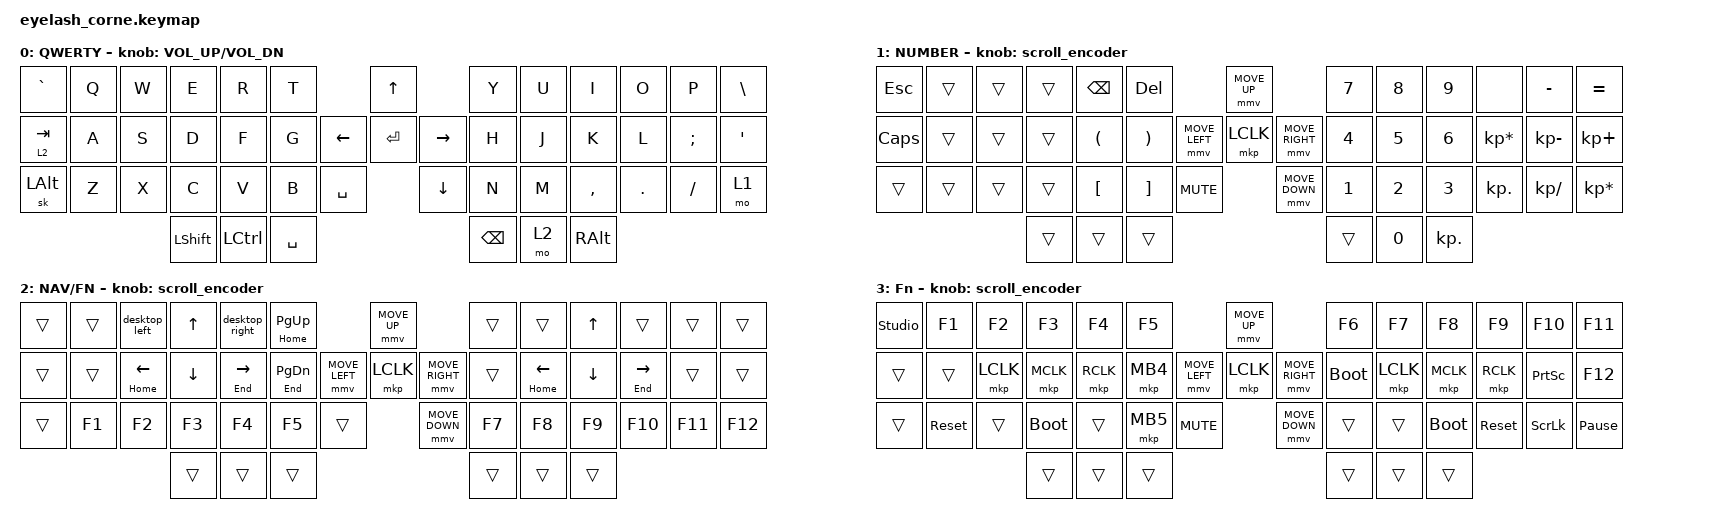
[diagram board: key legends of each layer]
#define ZMK_POINTING_DEFAULT_MOVE_VAL 1200  // 600
#define ZMK_POINTING_DEFAULT_SCRL_VAL 25   // 10

#include <input/processors.dtsi>
#include <zephyr/dt-bindings/input/input-event-codes.h>
#include <behaviors.dtsi>
#include <dt-bindings/zmk/bt.h>
#include <dt-bindings/zmk/keys.h>
#include <dt-bindings/zmk/outputs.h>
#include <dt-bindings/zmk/pointing.h>
#include <dt-bindings/zmk/rgb.h>

&mmv_input_listener { input-processors = <&zip_xy_scaler 2 1>; };

&msc_input_listener { input-processors = <&zip_scroll_scaler 2 1>; };

&msc {
    acceleration-exponent = <1>;      // 0
    time-to-max-speed-ms = <100>;       // 300
    delay-ms = <0>;                   // 0
};

&mmv {
    time-to-max-speed-ms = <500>;
    acceleration-exponent = <1>;
    trigger-period-ms = <16>;
};

&soft_off { hold-time-ms = <2000>; };

/ {
    // ==================== MACROS ====================
    macros {
        // M0: Ctrl+GUI+Left (desktop switch left)
        desktop_left: desktop_left {
            compatible = "zmk,behavior-macro";
            #binding-cells = <0>;
            bindings = <&kp LC(LG(LEFT))>;
        };

        // M1: Ctrl+GUI+Right (desktop switch right)
        desktop_right: desktop_right {
            compatible = "zmk,behavior-macro";
            #binding-cells = <0>;
            bindings = <&kp LC(LG(RIGHT))>;
        };
    };

    // ==================== BEHAVIORS ====================
    behaviors {
        // Hold-tap: tap=PgUp, hold=Home
        ht_pgup: ht_pgup {
            compatible = "zmk,behavior-hold-tap";
            #binding-cells = <2>;
            flavor = "tap-preferred";
            tapping-term-ms = <200>;
            bindings = <&kp>, <&kp>;
        };

        // Hold-tap: tap=PgDn, hold=End
        ht_pgdn: ht_pgdn {
            compatible = "zmk,behavior-hold-tap";
            #binding-cells = <2>;
            flavor = "tap-preferred";
            tapping-term-ms = <200>;
            bindings = <&kp>, <&kp>;
        };

        // Hold-tap: tap=Left, hold=Home
        ht_left: ht_left {
            compatible = "zmk,behavior-hold-tap";
            #binding-cells = <2>;
            flavor = "tap-preferred";
            tapping-term-ms = <200>;
            bindings = <&kp>, <&kp>;
        };

        // Hold-tap: tap=Right, hold=End
        ht_right: ht_right {
            compatible = "zmk,behavior-hold-tap";
            #binding-cells = <2>;
            flavor = "tap-preferred";
            tapping-term-ms = <200>;
            bindings = <&kp>, <&kp>;
        };
    };

    rgb_encoder: rgb_encoder {
        compatible = "zmk,behavior-sensor-rotate";
        #sensor-binding-cells = <0>;
        bindings = <&rgb_ug RGB_BRI>, <&rgb_ug RGB_BRD>;
    };

    scroll_encoder: scroll_encoder {
        compatible = "zmk,behavior-sensor-rotate";
        #sensor-binding-cells = <0>;
        bindings = <&msc SCRL_DOWN>, <&msc SCRL_UP>;

        tap-ms = <100>;
    };

    // ==================== COMBOS ====================
    combos {
        compatible = "zmk,combos";

        softoff {
            bindings = <&soft_off>;
            key-positions = <1 16 30>;
        };

        // J+K = Enter (positions 23+24)
        combo_jk_enter {
            timeout-ms = <50>;
            key-positions = <23 24>;
            bindings = <&kp ENTER>;
        };

        // D+F = Enter (positions 16+17)
        combo_df_enter {
            timeout-ms = <50>;
            key-positions = <16 17>;
            bindings = <&kp ENTER>;
        };

        // Q+W = Escape (positions 1+2)
        combo_qw_esc {
            timeout-ms = <50>;
            key-positions = <1 2>;
            bindings = <&kp ESC>;
        };

        // S+D = MO(1) (positions 15+16)
        combo_sd_layer1 {
            timeout-ms = <50>;
            key-positions = <15 16>;
            bindings = <&mo 1>;
        };

        // X+C = One-shot GUI (positions 30+31) - this one works
        combo_xc_gui {
            timeout-ms = <50>;
            key-positions = <30 31>;
            bindings = <&sk LGUI>;
        };
    };

    // ==================== KEYMAP ====================
    keymap {
        compatible = "zmk,keymap";

        default_layer {
            display-name = "QWERTY";
            // ` Q W E R T  [joy]  Y U I O P \
            // Tab/L2 A S D F G  [joy]  H J K L ; '
            // OSM(Alt) Z X C V B  [joy]  N M , . / MO(1)
            //          Shift Ctrl Space    Bksp MO(2) RAlt
            bindings = <
&kp GRAVE   &kp Q  &kp W  &kp E      &kp R      &kp T                                  &kp UP                &kp Y     &kp U  &kp I      &kp O    &kp P     &kp BSLH
&lt 2 TAB   &kp A  &kp S  &kp D      &kp F      &kp G                        &kp LEFT  &kp ENTER  &kp RIGHT  &kp H     &kp J  &kp K      &kp L    &kp SEMI  &kp SQT
&sk LALT    &kp Z  &kp X  &kp C      &kp V      &kp B        &kp SPACE                 &kp DOWN              &kp N     &kp M  &kp COMMA  &kp DOT  &kp FSLH  &mo 1
                          &kp LSHFT  &kp LCTRL  &kp SPACE                                                    &kp BSPC  &mo 2  &kp RALT
            >;

            sensor-bindings = <&inc_dec_kp C_VOLUME_UP C_VOL_DN>;
        };

        lower_layer {
            display-name = "NUMBER";
            // ESC _ _ _ Bksp Del  [joy]  7 8 9 _ - =
            // Caps _ _ _ ( )  [joy]  4 5 6 * KP- KP+
            // _ _ _ _ [ ]  [joy]  1 2 3 KP. KP/ KP*
            //          _ _ _    _ 0 KP.
            bindings = <
&kp ESC   &trans  &trans  &trans  &kp BSPC  &kp DEL                                        &mmv MOVE_UP                     &kp N7  &kp N8  &kp N9      &none            &kp MINUS     &kp EQUAL
&kp CAPS  &trans  &trans  &trans  &kp LPAR  &kp RPAR                       &mmv MOVE_LEFT  &mkp LCLK       &mmv MOVE_RIGHT  &kp N4  &kp N5  &kp N6      &kp KP_ASTERISK  &kp KP_MINUS  &kp KP_PLUS
&trans    &trans  &trans  &trans  &kp LBKT  &kp RBKT       &kp C_MUTE                      &mmv MOVE_DOWN                   &kp N1  &kp N2  &kp N3      &kp KP_DOT       &kp KP_SLASH  &kp KP_ASTERISK
                          &trans  &trans    &trans                                                                          &trans  &kp N0  &kp KP_DOT
            >;

            sensor-bindings = <&scroll_encoder>;
        };

        raise_layer {
            display-name = "NAV/FN";
            // _ _ M0 Up M1 PgUp/Hm  [joy]  _ _ Up _ _ _
            // _ _ Left/Hm Down Right/End PgDn/End  [joy]  _ Left/Hm Down Right/End _ _
            // _ F1 F2 F3 F4 F5  [joy]  F7 F8 F9 F10 F11 F12
            //          _ _ _    _ _ _
            bindings = <
&trans  &trans  &desktop_left       &kp UP    &desktop_right       &ht_pgup HOME PG_UP                            &mmv MOVE_UP                     &trans  &trans                  &kp UP    &trans                   &trans   &trans
&trans  &trans  &ht_left HOME LEFT  &kp DOWN  &ht_right END RIGHT  &ht_pgdn END PG_DN             &mmv MOVE_LEFT  &mkp LCLK       &mmv MOVE_RIGHT  &trans  &ht_left HOME LEFT      &kp DOWN  &ht_right END RIGHT      &trans   &trans
&trans  &kp F1  &kp F2              &kp F3    &kp F4               &kp F5              &trans                     &mmv MOVE_DOWN                   &kp F7  &kp F8                  &kp F9    &kp F10                  &kp F11  &kp F12
                                    &trans    &trans               &trans                                                                          &trans  &trans                  &trans
            >;

            sensor-bindings = <&scroll_encoder>;
        };

        layer_3 {
            display-name = "Fn";
            bindings = <
&studio_unlock  &kp F1      &kp F2     &kp F3       &kp F4     &kp F5                                  &mmv MOVE_UP                     &kp F6       &kp F7     &kp F8       &kp F9      &kp F10          &kp F11
&trans          &trans      &mkp LCLK  &mkp MCLK    &mkp RCLK  &mkp MB4                &mmv MOVE_LEFT  &mkp LCLK       &mmv MOVE_RIGHT  &bootloader  &mkp LCLK  &mkp MCLK    &mkp RCLK   &kp PRINTSCREEN  &kp F12
&trans          &sys_reset  &trans     &bootloader  &trans     &mkp MB5  &kp C_MUTE                    &mmv MOVE_DOWN                   &trans       &trans     &bootloader  &sys_reset  &kp SCROLLLOCK   &kp PAUSE_BREAK
                                       &trans       &trans     &trans                                                                   &trans       &trans     &trans
            >;

            sensor-bindings = <&scroll_encoder>;
        };
    };
};
